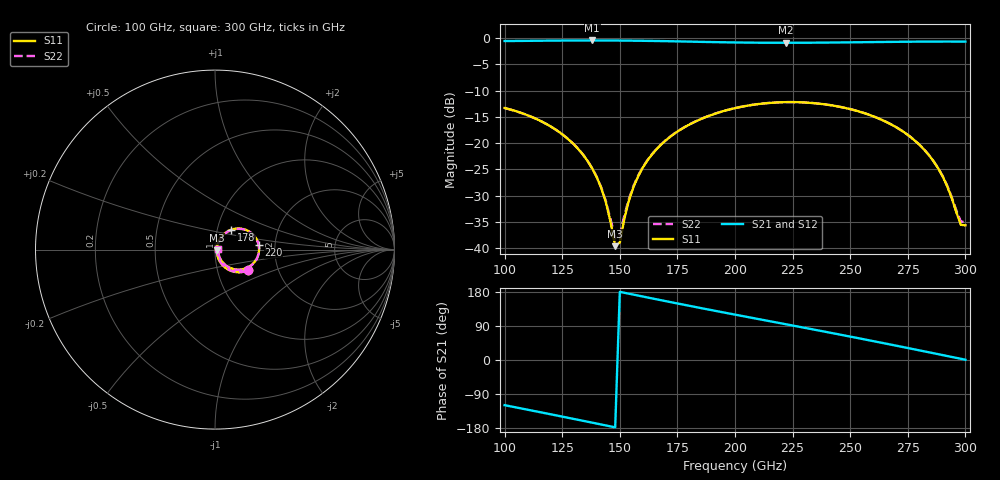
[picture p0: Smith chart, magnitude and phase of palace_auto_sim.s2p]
#  GHZ S DB R 50
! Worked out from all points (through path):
!   101 points, 100 GHz to 300 GHz, reference 50 ohm
!   highest |S21| = -0.47 dB at 138 GHz (marker M1); lowest = -0.9 dB at 222 GHz (marker M2)
!   group delay of S21, straight-line fit = 3.31 ps
!   lowest |S11| = -39.6 dB at 148 GHz (marker M3), VSWR 1.02, Z = 51 - j0.453 ohm
!   |S11| at or under -10 dB: start of sweep to end of sweep
!   |S22| runs from -38.1 to -12.2 dB; largest |S21 - S12| = 1.1e-14
!   S11 on the Smith chart (normalised r, x): 100 GHz: 1.40, -0.34; 178 GHz: 1.16, +0.26; 220 GHz: 1.64, +0.09; 300 GHz: 1.03, +0.01
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100  -13.31 -32.5  -0.58 -119.3  -0.58 -119.3  -13.32 -32.2
120  -16.83 -54.1  -0.50 -143.3  -0.50 -143.3  -16.83 -53.5
134  -22.17 -67.1  -0.47 -160.4  -0.47 -160.4  -22.16 -65.8
138  -24.79 -69.3  -0.47 -165.3  -0.47 -165.3  -24.76 -67.4
144  -31.32 -65.3  -0.47 -172.8  -0.47 -172.8  -31.11 -61.1
148  -39.59 -25.1  -0.48 -177.7  -0.48 -177.7  -38.08 -20.2
150  -38.89 30.0  -0.49 179.8  -0.49 179.8  -37.46 25.3
154  -30.84 63.0  -0.50 174.9  -0.50 174.9  -30.53 58.9
158  -26.26 66.5  -0.52 170.0  -0.52 170.0  -26.14 63.7
168  -20.24 60.7  -0.59 157.7  -0.59 157.7  -20.20 59.2
178  -16.99 51.2  -0.67 145.6  -0.67 145.6  -16.97 50.1
200  -13.34 28.0  -0.85 119.7  -0.85 119.7  -13.33 27.2
220  -12.23 5.9  -0.91 96.7  -0.91 96.7  -12.22 5.2
222  -12.20 3.7  -0.91 94.4  -0.91 94.4  -12.19 3.0
234  -12.38 -9.7  -0.89 80.5  -0.89 80.5  -12.38 -10.3
250  -13.53 -27.3  -0.83 61.8  -0.83 61.8  -13.52 -27.8
268  -16.49 -46.4  -0.74 40.2  -0.74 40.2  -16.48 -46.8
278  -19.49 -55.6  -0.70 27.9  -0.70 27.9  -19.47 -55.9
286  -23.33 -60.2  -0.68 18.1  -0.68 18.1  -23.30 -60.1
292  -28.09 -57.1  -0.68 10.6  -0.68 10.6  -27.99 -56.3
298  -35.51 -17.1  -0.68 3.2  -0.68 3.2  -34.92 -16.5
300  -35.64 16.1  -0.69 0.7  -0.69 0.7  -35.01 14.3
